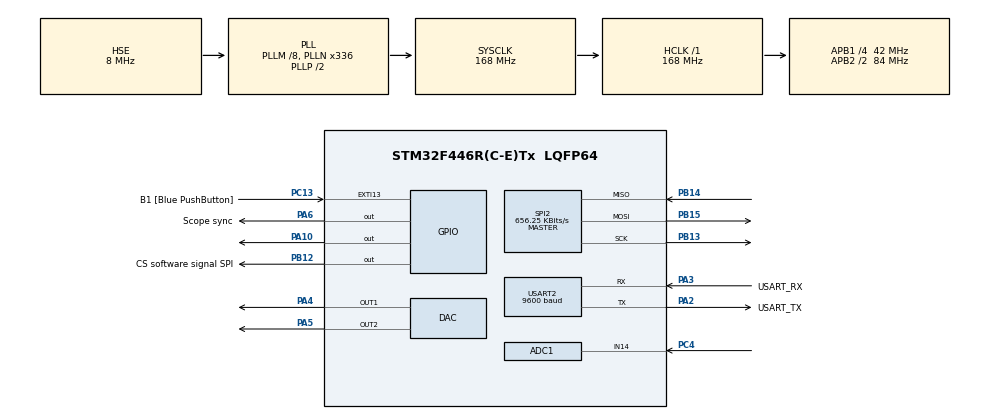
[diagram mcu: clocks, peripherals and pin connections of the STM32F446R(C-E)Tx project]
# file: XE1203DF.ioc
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ADC1.Channel-24\#ChannelRegularConversion=ADC_CHANNEL_14
ADC1.ClockPrescaler=ADC_CLOCK_SYNC_PCLK_DIV4
ADC1.ContinuousConvMode=DISABLE
ADC1.DMAContinuousRequests=ENABLE
ADC1.DataAlign=ADC_DATAALIGN_RIGHT
ADC1.DiscontinuousConvMode=DISABLE
ADC1.EOCSelection=ADC_EOC_SINGLE_CONV
ADC1.EnableAnalogWatchDog=false
ADC1.ExternalTrigConv=ADC_EXTERNALTRIGCONV_T2_TRGO
ADC1.ExternalTrigConvEdge=ADC_EXTERNALTRIGCONVEDGE_RISING
ADC1.InjNumberOfConversion=0
ADC1.NbrOfConversion=1
ADC1.NbrOfConversionFlag=1
ADC1.Rank-24\#ChannelRegularConversion=1
ADC1.Resolution=ADC_RESOLUTION_12B
ADC1.SamplingTime-24\#ChannelRegularConversion=ADC_SAMPLETIME_3CYCLES
ADC1.ScanConvMode=DISABLE
ADC1.master=1
DAC.DAC_Trigger=DAC_TRIGGER_T2_TRGO
DAC.DAC_Trigger2=DAC_TRIGGER_T2_TRGO
Dma.ADC1.2.Direction=DMA_PERIPH_TO_MEMORY
Dma.ADC1.2.FIFOMode=DMA_FIFOMODE_DISABLE
Dma.ADC1.2.Instance=DMA2_Stream0
Dma.ADC1.2.MemDataAlignment=DMA_MDATAALIGN_HALFWORD
Dma.ADC1.2.MemInc=DMA_MINC_ENABLE
Dma.ADC1.2.Mode=DMA_CIRCULAR
Dma.ADC1.2.PeriphDataAlignment=DMA_PDATAALIGN_HALFWORD
Dma.ADC1.2.PeriphInc=DMA_PINC_DISABLE
Dma.ADC1.2.Priority=DMA_PRIORITY_HIGH
Dma.DAC1.1.Direction=DMA_MEMORY_TO_PERIPH
Dma.DAC1.1.FIFOMode=DMA_FIFOMODE_DISABLE
Dma.DAC1.1.Instance=DMA1_Stream5
Dma.DAC1.1.MemDataAlignment=DMA_MDATAALIGN_WORD
Dma.DAC1.1.MemInc=DMA_MINC_ENABLE
Dma.DAC1.1.Mode=DMA_CIRCULAR
Dma.DAC1.1.PeriphDataAlignment=DMA_PDATAALIGN_WORD
Dma.DAC1.1.PeriphInc=DMA_PINC_DISABLE
Dma.DAC1.1.Priority=DMA_PRIORITY_MEDIUM
Dma.MEMTOMEM.3.Direction=DMA_MEMORY_TO_MEMORY
Dma.MEMTOMEM.3.FIFOMode=DMA_FIFOMODE_ENABLE
Dma.MEMTOMEM.3.FIFOThreshold=DMA_FIFO_THRESHOLD_FULL
Dma.MEMTOMEM.3.Instance=DMA2_Stream1
Dma.MEMTOMEM.3.MemBurst=DMA_MBURST_SINGLE
Dma.MEMTOMEM.3.MemDataAlignment=DMA_MDATAALIGN_WORD
Dma.MEMTOMEM.3.MemInc=DMA_MINC_ENABLE
Dma.MEMTOMEM.3.Mode=DMA_NORMAL
Dma.MEMTOMEM.3.PeriphBurst=DMA_PBURST_SINGLE
Dma.MEMTOMEM.3.PeriphDataAlignment=DMA_PDATAALIGN_WORD
Dma.MEMTOMEM.3.PeriphInc=DMA_PINC_ENABLE
Dma.MEMTOMEM.3.Priority=DMA_PRIORITY_LOW
Dma.Request0=USART2_TX
Dma.Request1=DAC1
Dma.Request2=ADC1
Dma.Request3=MEMTOMEM
Dma.USART2_TX.0.Direction=DMA_MEMORY_TO_PERIPH
Dma.USART2_TX.0.FIFOMode=DMA_FIFOMODE_DISABLE
Dma.USART2_TX.0.Instance=DMA1_Stream6
Dma.USART2_TX.0.MemDataAlignment=DMA_MDATAALIGN_BYTE
Dma.USART2_TX.0.MemInc=DMA_MINC_ENABLE
Dma.USART2_TX.0.Mode=DMA_NORMAL
Dma.USART2_TX.0.PeriphDataAlignment=DMA_PDATAALIGN_BYTE
Dma.USART2_TX.0.PeriphInc=DMA_PINC_DISABLE
Dma.USART2_TX.0.Priority=DMA_PRIORITY_LOW
Mcu.Family=STM32F4
Mcu.Name=STM32F446R(C-E)Tx
Mcu.Package=LQFP64
NVIC.DMA1_Stream5_IRQn=true\:0\:0\:false\:false\:true\:false\:true\:true
NVIC.DMA1_Stream6_IRQn=true\:0\:0\:false\:false\:true\:false\:true\:true
NVIC.DMA2_Stream0_IRQn=true\:0\:0\:false\:false\:true\:false\:true\:true
NVIC.DMA2_Stream1_IRQn=true\:0\:0\:false\:false\:true\:true\:true\:true
NVIC.PriorityGroup=NVIC_PRIORITYGROUP_0
NVIC.TIM2_IRQn=true\:0\:0\:false\:false\:true\:true\:true\:true
PA10.Signal=GPIO_Output
PA13.GPIO_Label=TMS
PA13.Mode=Serial_Wire
PA13.Signal=SYS_JTMS-SWDIO
PA14.GPIO_Label=TCK
PA14.Mode=Serial_Wire
PA14.Signal=SYS_JTCK-SWCLK
PA2.GPIO_Label=USART_TX
PA2.Mode=Asynchronous
PA2.Signal=USART2_TX
PA3.GPIO_Label=USART_RX
PA3.Mode=Asynchronous
PA3.Signal=USART2_RX
PA4.Signal=COMP_DAC1_group
PA5.Signal=COMP_DAC2_group
PA6.GPIO_Label=Scope sync
PA6.GPIO_Speed=GPIO_SPEED_FREQ_MEDIUM
PA6.Signal=GPIO_Output
PB12.GPIO_Label=CS software signal SPI
PB12.PinState=GPIO_PIN_SET
PB12.Signal=GPIO_Output
PB13.GPIO_Speed=GPIO_SPEED_FREQ_LOW
PB13.Mode=Full_Duplex_Master
PB13.Signal=SPI2_SCK
PB14.GPIO_PuPd=GPIO_PULLDOWN
PB14.GPIO_Speed=GPIO_SPEED_FREQ_LOW
PB14.Mode=Full_Duplex_Master
PB14.Signal=SPI2_MISO
PB15.GPIO_PuPd=GPIO_NOPULL
PB15.GPIO_Speed=GPIO_SPEED_FREQ_LOW
PB15.Mode=Full_Duplex_Master
PB15.Signal=SPI2_MOSI
PB3.GPIO_Label=SWO
PB3.Signal=SYS_JTDO-SWO
PC13.GPIO_Label=B1 [Blue PushButton]
PC13.GPIO_ModeDefaultEXTI=GPIO_MODE_IT_FALLING
PC13.Signal=GPXTI13
PC14-OSC32_IN.Mode=LSE-External-Oscillator
PC14-OSC32_IN.Signal=RCC_OSC32_IN
PC15-OSC32_OUT.Mode=LSE-External-Oscillator
PC15-OSC32_OUT.Signal=RCC_OSC32_OUT
PC4.Signal=ADCx_IN14
PH0-OSC_IN.Mode=HSE-External-Oscillator
PH0-OSC_IN.Signal=RCC_OSC_IN
PH1-OSC_OUT.Mode=HSE-External-Oscillator
PH1-OSC_OUT.Signal=RCC_OSC_OUT
ProjectManager.HeapSize=0x200
ProjectManager.StackSize=0x400
ProjectManager.TargetToolchain=STM32CubeIDE
RCC.48MHZClocksFreq_Value=84000000
RCC.AHBFreq_Value=168000000
RCC.APB1CLKDivider=RCC_HCLK_DIV4
RCC.APB1Freq_Value=42000000
RCC.APB1TimFreq_Value=84000000
RCC.APB2CLKDivider=RCC_HCLK_DIV2
RCC.APB2Freq_Value=84000000
RCC.APB2TimFreq_Value=168000000
RCC.CortexFreq_Value=21000000
RCC.Cortex_Div=SYSTICK_CLKSOURCE_HCLK_DIV8
RCC.FLatency-AdvancedSettings=FLASH_LATENCY_5
RCC.HCLKFreq_Value=168000000
RCC.HSE_VALUE=8000000
RCC.HSI_VALUE=16000000
RCC.PLLM=8
RCC.PLLN=336
RCC.PLLSourceVirtual=RCC_PLLSOURCE_HSE
RCC.SYSCLKFreq_VALUE=168000000
RCC.SYSCLKSource=RCC_SYSCLKSOURCE_PLLCLK
RCC.USBFreq_Value=168000000
RCC.VCOOutputFreq_Value=336000000
SH.ADCx_IN14.0=ADC1_IN14,IN14
SH.COMP_DAC1_group.0=DAC_OUT1,DAC_OUT1
SH.COMP_DAC2_group.0=DAC_OUT2,DAC_OUT2
SPI2.BaudRatePrescaler=SPI_BAUDRATEPRESCALER_64
SPI2.CLKPolarity=SPI_POLARITY_HIGH
SPI2.CalculateBaudRate=656.25 KBits/s
SPI2.DataSize=SPI_DATASIZE_8BIT
SPI2.Direction=SPI_DIRECTION_2LINES
SPI2.Mode=SPI_MODE_MASTER
SPI2.VirtualType=VM_MASTER
TIM2.Period=167
TIM2.TIM_MasterOutputTrigger=TIM_TRGO_UPDATE
USART2.BaudRate=9600
USART2.VirtualMode=VM_ASYNC
VP_TIM2_VS_ClockSourceINT.Mode=Internal
board=NUCLEO-F446RE

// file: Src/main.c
/* USER CODE BEGIN Header */
/**
  ******************************************************************************
  * @file           : main.c
  * @brief          : Main program body
  ******************************************************************************
  * @attention
  *
  * Copyright (c) 2022 STMicroelectronics.
  * All rights reserved.
  *
  * This software is licensed under terms that can be found in the LICENSE file
  * in the root directory of this software component.
  * If no LICENSE file comes with this software, it is provided AS-IS.
  *
  ******************************************************************************
  */
/* USER CODE END Header */
#include "main.h"

/* USER CODE BEGIN Includes */
#include <string.h>
#include "xe1203_driver.h"
#include "downsampling.h"
#include "post_processing.h"
#include "dac_scope.h"
/* USER CODE END Includes */

/* USER CODE BEGIN PM */
#define ADC_BUFF_LEN (FIR_STAGE1_BLOCK_SIZE * 4)
/* USER CODE END PM */

ADC_HandleTypeDef hadc1;
DMA_HandleTypeDef hdma_adc1;

DAC_HandleTypeDef hdac;
DMA_HandleTypeDef hdma_dac1;

SPI_HandleTypeDef hspi2;

TIM_HandleTypeDef htim2;

UART_HandleTypeDef huart2;
DMA_HandleTypeDef hdma_usart2_tx;

DMA_HandleTypeDef hdma_memtomem_dma2_stream1;
/* USER CODE BEGIN PV */
/* Private variables ---------------------------------------------------------*/
static uint16_t adc1_buffer[ADC_BUFF_LEN];
/* USER CODE END PV */

void SystemClock_Config(void);
static void MX_GPIO_Init(void);
static void MX_DMA_Init(void);
static void MX_SPI2_Init(void);
static void MX_TIM2_Init(void);
static void MX_ADC1_Init(void);
static void MX_USART2_UART_Init(void);
static void MX_DAC_Init(void);
/* USER CODE BEGIN PFP */
/* Private function prototypes -----------------------------------------------*/
/* USER CODE END PFP */

/* USER CODE BEGIN 0 */
HAL_StatusTypeDef res;
/* USER CODE END 0 */

int main(void)
{

  /* MCU Configuration--------------------------------------------------------*/

  /* Reset of all peripherals, Initializes the Flash interface and the Systick. */
  HAL_Init();

  /* Configure the system clock */
  SystemClock_Config();

  /* Initialize all configured peripherals */
  MX_GPIO_Init();
  MX_DMA_Init();
  MX_SPI2_Init();
  MX_TIM2_Init();
  MX_ADC1_Init();
  MX_USART2_UART_Init();
  MX_DAC_Init();
  /* USER CODE BEGIN 2 */
  DSP_FIR_init();
  DSP_PP_init(&huart2);

  HAL_ADC_Start_DMA(&hadc1, (uint32_t*) adc1_buffer, ADC_BUFF_LEN);
  HAL_TIM_Base_Start(&htim2);
  DACScope_init(&hdac, &hdma_memtomem_dma2_stream1);
  /* USER CODE END 2 */

  /* Infinite loop */
  while (1)
  {

  }
}

void SystemClock_Config(void)
{
  RCC_OscInitTypeDef RCC_OscInitStruct = {0};
  RCC_ClkInitTypeDef RCC_ClkInitStruct = {0};

  /** Configure the main internal regulator output voltage
  */
  __HAL_RCC_PWR_CLK_ENABLE();
  __HAL_PWR_VOLTAGESCALING_CONFIG(PWR_REGULATOR_VOLTAGE_SCALE1);

  /** Initializes the RCC Oscillators according to the specified parameters
  * in the RCC_OscInitTypeDef structure.
  */
  RCC_OscInitStruct.OscillatorType = RCC_OSCILLATORTYPE_HSE;
  RCC_OscInitStruct.HSEState = RCC_HSE_ON;
  RCC_OscInitStruct.PLL.PLLState = RCC_PLL_ON;
  RCC_OscInitStruct.PLL.PLLSource = RCC_PLLSOURCE_HSE;
  RCC_OscInitStruct.PLL.PLLM = 8;
  RCC_OscInitStruct.PLL.PLLN = 336;
  RCC_OscInitStruct.PLL.PLLP = RCC_PLLP_DIV2;
  RCC_OscInitStruct.PLL.PLLQ = 2;
  RCC_OscInitStruct.PLL.PLLR = 2;
  if (HAL_RCC_OscConfig(&RCC_OscInitStruct) != HAL_OK)
  {
    Error_Handler();
  }

  /** Initializes the CPU, AHB and APB buses clocks
  */
  RCC_ClkInitStruct.ClockType = RCC_CLOCKTYPE_HCLK|RCC_CLOCKTYPE_SYSCLK
                              |RCC_CLOCKTYPE_PCLK1|RCC_CLOCKTYPE_PCLK2;
  RCC_ClkInitStruct.SYSCLKSource = RCC_SYSCLKSOURCE_PLLCLK;
  RCC_ClkInitStruct.AHBCLKDivider = RCC_SYSCLK_DIV1;
  RCC_ClkInitStruct.APB1CLKDivider = RCC_HCLK_DIV4;
  RCC_ClkInitStruct.APB2CLKDivider = RCC_HCLK_DIV2;

  if (HAL_RCC_ClockConfig(&RCC_ClkInitStruct, FLASH_LATENCY_5) != HAL_OK)
  {
    Error_Handler();
  }
}

static void MX_ADC1_Init(void)
{

  ADC_ChannelConfTypeDef sConfig = {0};

  /** Configure the global features of the ADC (Clock, Resolution, Data Alignment and number of conversion)
  */
  hadc1.Instance = ADC1;
  hadc1.Init.ClockPrescaler = ADC_CLOCK_SYNC_PCLK_DIV4;
  hadc1.Init.Resolution = ADC_RESOLUTION_12B;
  hadc1.Init.ScanConvMode = DISABLE;
  hadc1.Init.ContinuousConvMode = DISABLE;
  hadc1.Init.DiscontinuousConvMode = DISABLE;
  hadc1.Init.ExternalTrigConvEdge = ADC_EXTERNALTRIGCONVEDGE_RISING;
  hadc1.Init.ExternalTrigConv = ADC_EXTERNALTRIGCONV_T2_TRGO;
  hadc1.Init.DataAlign = ADC_DATAALIGN_RIGHT;
  hadc1.Init.NbrOfConversion = 1;
  hadc1.Init.DMAContinuousRequests = ENABLE;
  hadc1.Init.EOCSelection = ADC_EOC_SINGLE_CONV;
  if (HAL_ADC_Init(&hadc1) != HAL_OK)
  {
    Error_Handler();
  }

  /** Configure for the selected ADC regular channel its corresponding rank in the sequencer and its sample time.
  */
  sConfig.Channel = ADC_CHANNEL_14;
  sConfig.Rank = 1;
  sConfig.SamplingTime = ADC_SAMPLETIME_3CYCLES;
  if (HAL_ADC_ConfigChannel(&hadc1, &sConfig) != HAL_OK)
  {
    Error_Handler();
  }

}

static void MX_DAC_Init(void)
{

  DAC_ChannelConfTypeDef sConfig = {0};

  /** DAC Initialization
  */
  hdac.Instance = DAC;
  if (HAL_DAC_Init(&hdac) != HAL_OK)
  {
    Error_Handler();
  }

  /** DAC channel OUT1 config
  */
  sConfig.DAC_Trigger = DAC_TRIGGER_T2_TRGO;
  sConfig.DAC_OutputBuffer = DAC_OUTPUTBUFFER_ENABLE;
  if (HAL_DAC_ConfigChannel(&hdac, &sConfig, DAC_CHANNEL_1) != HAL_OK)
  {
    Error_Handler();
  }

  /** DAC channel OUT2 config
  */
  if (HAL_DAC_ConfigChannel(&hdac, &sConfig, DAC_CHANNEL_2) != HAL_OK)
  {
    Error_Handler();
  }

}

static void MX_SPI2_Init(void)
{

  /* SPI2 parameter configuration*/
  hspi2.Instance = SPI2;
  hspi2.Init.Mode = SPI_MODE_MASTER;
  hspi2.Init.Direction = SPI_DIRECTION_2LINES;
  hspi2.Init.DataSize = SPI_DATASIZE_8BIT;
  hspi2.Init.CLKPolarity = SPI_POLARITY_HIGH;
  hspi2.Init.CLKPhase = SPI_PHASE_1EDGE;
  hspi2.Init.NSS = SPI_NSS_SOFT;
  hspi2.Init.BaudRatePrescaler = SPI_BAUDRATEPRESCALER_64;
  hspi2.Init.FirstBit = SPI_FIRSTBIT_MSB;
  hspi2.Init.TIMode = SPI_TIMODE_DISABLE;
  hspi2.Init.CRCCalculation = SPI_CRCCALCULATION_DISABLE;
  hspi2.Init.CRCPolynomial = 10;
  if (HAL_SPI_Init(&hspi2) != HAL_OK)
  {
    Error_Handler();
  }

}

static void MX_TIM2_Init(void)
{

  TIM_ClockConfigTypeDef sClockSourceConfig = {0};
  TIM_MasterConfigTypeDef sMasterConfig = {0};

  htim2.Instance = TIM2;
  htim2.Init.Prescaler = 0;
  htim2.Init.CounterMode = TIM_COUNTERMODE_UP;
  htim2.Init.Period = 167;
  htim2.Init.ClockDivision = TIM_CLOCKDIVISION_DIV1;
  htim2.Init.AutoReloadPreload = TIM_AUTORELOAD_PRELOAD_DISABLE;
  if (HAL_TIM_Base_Init(&htim2) != HAL_OK)
  {
    Error_Handler();
  }
  sClockSourceConfig.ClockSource = TIM_CLOCKSOURCE_INTERNAL;
  if (HAL_TIM_ConfigClockSource(&htim2, &sClockSourceConfig) != HAL_OK)
  {
    Error_Handler();
  }
  sMasterConfig.MasterOutputTrigger = TIM_TRGO_UPDATE;
  sMasterConfig.MasterSlaveMode = TIM_MASTERSLAVEMODE_DISABLE;
  if (HAL_TIMEx_MasterConfigSynchronization(&htim2, &sMasterConfig) != HAL_OK)
  {
    Error_Handler();
  }

}

static void MX_USART2_UART_Init(void)
{

  huart2.Instance = USART2;
  huart2.Init.BaudRate = 9600;
  huart2.Init.WordLength = UART_WORDLENGTH_8B;
  huart2.Init.StopBits = UART_STOPBITS_1;
  huart2.Init.Parity = UART_PARITY_NONE;
  huart2.Init.Mode = UART_MODE_TX_RX;
  huart2.Init.HwFlowCtl = UART_HWCONTROL_NONE;
  huart2.Init.OverSampling = UART_OVERSAMPLING_16;
  if (HAL_UART_Init(&huart2) != HAL_OK)
  {
    Error_Handler();
  }

}

static void MX_DMA_Init(void)
{

  /* DMA controller clock enable */
  __HAL_RCC_DMA1_CLK_ENABLE();
  __HAL_RCC_DMA2_CLK_ENABLE();

  /* Configure DMA request hdma_memtomem_dma2_stream1 on DMA2_Stream1 */
  hdma_memtomem_dma2_stream1.Instance = DMA2_Stream1;
  hdma_memtomem_dma2_stream1.Init.Channel = DMA_CHANNEL_0;
  hdma_memtomem_dma2_stream1.Init.Direction = DMA_MEMORY_TO_MEMORY;
  hdma_memtomem_dma2_stream1.Init.PeriphInc = DMA_PINC_ENABLE;
  hdma_memtomem_dma2_stream1.Init.MemInc = DMA_MINC_ENABLE;
  hdma_memtomem_dma2_stream1.Init.PeriphDataAlignment = DMA_PDATAALIGN_WORD;
  hdma_memtomem_dma2_stream1.Init.MemDataAlignment = DMA_MDATAALIGN_WORD;
  hdma_memtomem_dma2_stream1.Init.Mode = DMA_NORMAL;
  hdma_memtomem_dma2_stream1.Init.Priority = DMA_PRIORITY_LOW;
  hdma_memtomem_dma2_stream1.Init.FIFOMode = DMA_FIFOMODE_ENABLE;
  hdma_memtomem_dma2_stream1.Init.FIFOThreshold = DMA_FIFO_THRESHOLD_FULL;
  hdma_memtomem_dma2_stream1.Init.MemBurst = DMA_MBURST_SINGLE;
  hdma_memtomem_dma2_stream1.Init.PeriphBurst = DMA_PBURST_SINGLE;
  if (HAL_DMA_Init(&hdma_memtomem_dma2_stream1) != HAL_OK)
  {
    Error_Handler( );
  }

  /* DMA interrupt init */
  /* DMA1_Stream5_IRQn interrupt configuration */
  HAL_NVIC_SetPriority(DMA1_Stream5_IRQn, 0, 0);
  HAL_NVIC_EnableIRQ(DMA1_Stream5_IRQn);
  /* DMA1_Stream6_IRQn interrupt configuration */
  HAL_NVIC_SetPriority(DMA1_Stream6_IRQn, 0, 0);
  HAL_NVIC_EnableIRQ(DMA1_Stream6_IRQn);
  /* DMA2_Stream0_IRQn interrupt configuration */
  HAL_NVIC_SetPriority(DMA2_Stream0_IRQn, 0, 0);
  HAL_NVIC_EnableIRQ(DMA2_Stream0_IRQn);
  /* DMA2_Stream1_IRQn interrupt configuration */
  HAL_NVIC_SetPriority(DMA2_Stream1_IRQn, 0, 0);
  HAL_NVIC_EnableIRQ(DMA2_Stream1_IRQn);

}

static void MX_GPIO_Init(void)
{
  GPIO_InitTypeDef GPIO_InitStruct = {0};

  /* GPIO Ports Clock Enable */
  __HAL_RCC_GPIOC_CLK_ENABLE();
  __HAL_RCC_GPIOH_CLK_ENABLE();
  __HAL_RCC_GPIOA_CLK_ENABLE();
  __HAL_RCC_GPIOB_CLK_ENABLE();

  /*Configure GPIO pin Output Level */
  HAL_GPIO_WritePin(GPIOA, Scope_sync_Pin|GPIO_PIN_10, GPIO_PIN_RESET);

  /*Configure GPIO pin Output Level */
  HAL_GPIO_WritePin(CS_software_signal_SPI_GPIO_Port, CS_software_signal_SPI_Pin, GPIO_PIN_SET);

  /*Configure GPIO pin : B1_Pin */
  GPIO_InitStruct.Pin = B1_Pin;
  GPIO_InitStruct.Mode = GPIO_MODE_IT_FALLING;
  GPIO_InitStruct.Pull = GPIO_NOPULL;
  HAL_GPIO_Init(B1_GPIO_Port, &GPIO_InitStruct);

  /*Configure GPIO pin : Scope_sync_Pin */
  GPIO_InitStruct.Pin = Scope_sync_Pin;
  GPIO_InitStruct.Mode = GPIO_MODE_OUTPUT_PP;
  GPIO_InitStruct.Pull = GPIO_NOPULL;
  GPIO_InitStruct.Speed = GPIO_SPEED_FREQ_MEDIUM;
  HAL_GPIO_Init(Scope_sync_GPIO_Port, &GPIO_InitStruct);

  /*Configure GPIO pin : CS_software_signal_SPI_Pin */
  GPIO_InitStruct.Pin = CS_software_signal_SPI_Pin;
  GPIO_InitStruct.Mode = GPIO_MODE_OUTPUT_PP;
  GPIO_InitStruct.Pull = GPIO_NOPULL;
  GPIO_InitStruct.Speed = GPIO_SPEED_FREQ_LOW;
  HAL_GPIO_Init(CS_software_signal_SPI_GPIO_Port, &GPIO_InitStruct);

  /*Configure GPIO pin : PA10 */
  GPIO_InitStruct.Pin = GPIO_PIN_10;
  GPIO_InitStruct.Mode = GPIO_MODE_OUTPUT_PP;
  GPIO_InitStruct.Pull = GPIO_NOPULL;
  GPIO_InitStruct.Speed = GPIO_SPEED_FREQ_LOW;
  HAL_GPIO_Init(GPIOA, &GPIO_InitStruct);

}

/* USER CODE BEGIN 4 */

void HAL_ADC_ConvHalfCpltCallback(ADC_HandleTypeDef* hadc)
{
  DSP_FIR_processBuffer(adc1_buffer);
}

void HAL_ADC_ConvCpltCallback(ADC_HandleTypeDef* hadc)
{
    DSP_FIR_processBuffer(&adc1_buffer[ADC_BUFF_LEN / 2]);
}

/* USER CODE END 4 */

void Error_Handler(void)
{
  while(1)
  {
  }
}
